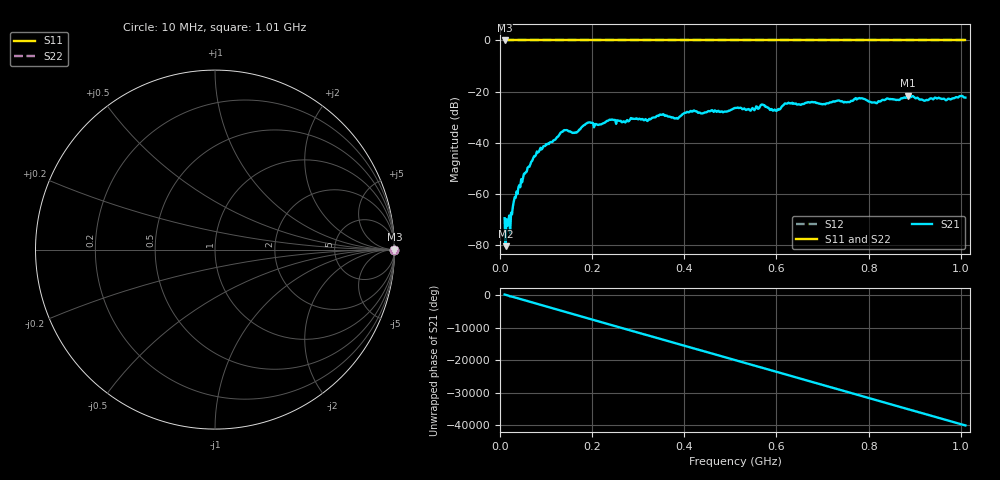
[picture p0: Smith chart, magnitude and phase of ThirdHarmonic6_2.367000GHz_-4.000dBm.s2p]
! 8/17/2025 3:40:30 AM
! C:\ANRITSUVNA\TEMP\TEMP.S2P
! CHANNEL.1
! TR.MEASUREMENT
! RAW.DATA
! RF.CORRECTION.OFF
! AVERAGING.OFF
! IF.BANDWIDTH: 5KHZ
! SWEEPTYPE:  FREQ.SWEEP(Linear)
! Reference Plane Port Info
! PORT:  PORT1  PORT2
! DISTANCE:  0  m  0  m
! TIME:  0  s  0  s
! PHASE.OFFSET:  0  deg.  0  deg.
! LOSS:  0  dB  0  dB
! REF.LOSS:  0  dB  0  dB
! REF.FREQ:  0  Hz  0  Hz
! Power Info
! POWER:  -20  dBm  -20  dBm
! EFF.POWER:  -20  dBm  -20  dBm
! SOURCE.ATTEN:  0  dB  0  dB
! TEST.ATTEN:  0  dB  0  dB
# GHZ S RI R 50.0
! FREQ.GHZ  S11RE  S11IM  S21RE  S21IM  S12RE  S12IM  S22RE  S22IM
!; PortSelection: Port_12
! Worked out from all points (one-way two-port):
!   501 points, 10 MHz to 1.01 GHz, reference 50 ohm
!   highest |S21| = -21.63 dB at 886 MHz (marker M1); lowest = -80.4 dB at 12 MHz (marker M2)
!   lowest |S11| = 0.0 dB at 10 MHz (marker M3)
!   |S11| at or under -10 dB: nowhere
!   |S22| runs from 0.0 to 0.0 dB; largest |S21 - S12| = 1.1
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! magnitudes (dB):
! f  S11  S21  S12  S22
! 10 MHz  0.0  -69.5  0.0  0.0
! 12 MHz  0.0  -80.4  0.0  0.0
! 22 MHz  0.0  -75.3  0.0  0.0
! 32 MHz  0.0  -61.2  0.0  0.0
! 50 MHz  0.0  -53.7  0.0  0.0
! 76 MHz  0.0  -45.3  0.0  0.0
! 136 MHz  0.0  -35.7  0.0  0.0
! 162 MHz  0.0  -36.1  0.0  0.0
! 178 MHz  0.0  -33.8  0.0  0.0
! 192 MHz  0.0  -32.1  0.0  0.0
! 322 MHz  0.0  -31.1  0.0  0.0
! 344 MHz  0.0  -29.5  0.0  0.0
! 382 MHz  0.0  -30.4  0.0  0.0
! 418 MHz  0.0  -27.8  0.0  0.0
! 510 MHz  0.0  -26.4  0.0  0.0
! 570 MHz  0.0  -25.1  0.0  0.0
! 596 MHz  0.0  -27.0  0.0  0.0
! 622 MHz  0.0  -24.7  0.0  0.0
! 678 MHz  0.0  -24.0  0.0  0.0
! 844 MHz  0.0  -22.9  0.0  0.0
! 886 MHz  0.0  -21.6  0.0  0.0
! 1.01 GHz  0.0  -22.3  0.0  0.0
